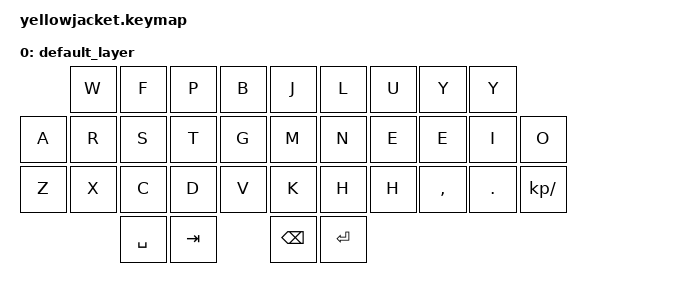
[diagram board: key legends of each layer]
#include <behaviors.dtsi>
#include <dt-bindings/zmk/keys.h>
#include <dt-bindings/zmk/bt.h>

/ {
    keymap {
        compatible = "zmk,keymap";

        default_layer {
            bindings = <
                        &kp W   &kp F   &kp P   &kp B       &kp J   &kp L   &kp U   &kp Y   &kp Y
                &kp A   &kp R   &kp S   &kp T   &kp G       &kp M   &kp N   &kp E   &kp E   &kp I   &kp O
                &kp Z   &kp X   &kp C   &kp D   &kp V       &kp K   &kp H   &kp H   &kp COMMA   &kp DOT   &kp KP_SLASH
                                    &kp SPACE   &kp TAB     &kp BSPC    &kp RETURN
            >;
        };
    };
};
